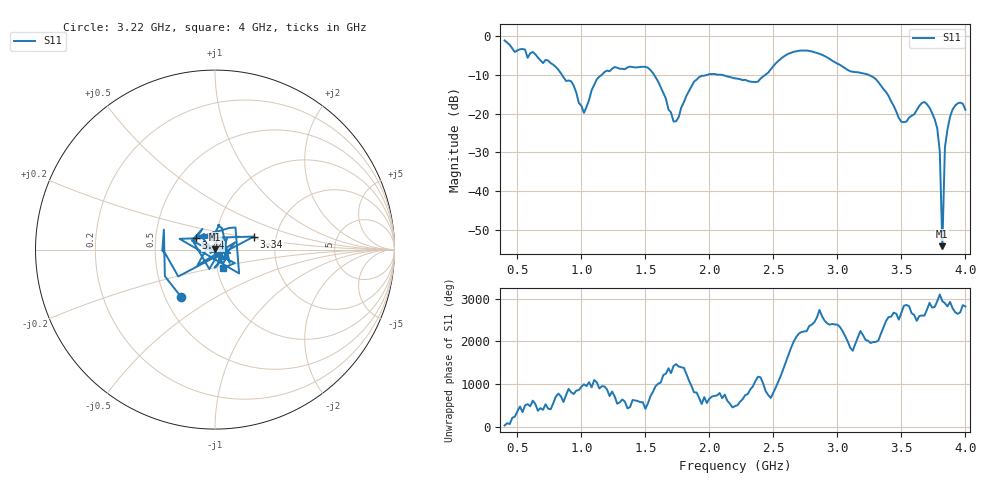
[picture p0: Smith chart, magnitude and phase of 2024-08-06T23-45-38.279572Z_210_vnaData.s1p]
!Created with skrf (http://scikit-rf.org).
# Hz S RI R 50.0
!freq ReS11 ImS11
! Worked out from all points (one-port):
!   181 points, 400 MHz to 4 GHz, reference 50 ohm
!   lowest |S11| = -54.1 dB at 3.82 GHz (marker M1), VSWR 1.00, Z = 50.1 + j0.17 ohm
!   |S11| at or under -10 dB: 1.567 GHz to 1.988 GHz (421 MHz wide, 23.7 % of centre); 2.071 GHz to 2.439 GHz (367.8 MHz wide, 16.3 % of centre); 3.24 GHz to end of sweep (the widest 3 of 4)
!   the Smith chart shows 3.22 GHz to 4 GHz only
!   S11 on the Smith chart (normalised r, x): 3.22 GHz: 0.60, -0.35; 3.34 GHz: 1.53, +0.24; 3.44 GHz: 0.80, +0.10; 4 GHz: 1.08, -0.22
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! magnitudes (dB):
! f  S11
! 400 MHz  -1.2
! 860 MHz  -10.6
! 940 MHz  -12.8
! 1.02 GHz  -19.8
! 1.12 GHz  -11.2
! 1.3 GHz  -8.5
! 1.52 GHz  -8.2
! 1.6 GHz  -11.8
! 1.72 GHz  -22.1
! 1.76 GHz  -20.9
! 1.92 GHz  -10.6
! 2.2 GHz  -11.0
! 2.38 GHz  -11.8
! 2.66 GHz  -4.1
! 3.1 GHz  -9.1
! 3.22 GHz  -9.8
! 3.34 GHz  -12.8
! 3.44 GHz  -18.0
! 3.5 GHz  -22.1
! 3.56 GHz  -21.0
! 3.68 GHz  -17.0
! 3.78 GHz  -23.8
! 3.8 GHz  -29.8
! 3.82 GHz  -54.1
! 3.84 GHz  -28.7
! 3.86 GHz  -24.1
! 3.92 GHz  -17.9
! 4 GHz  -19.0
